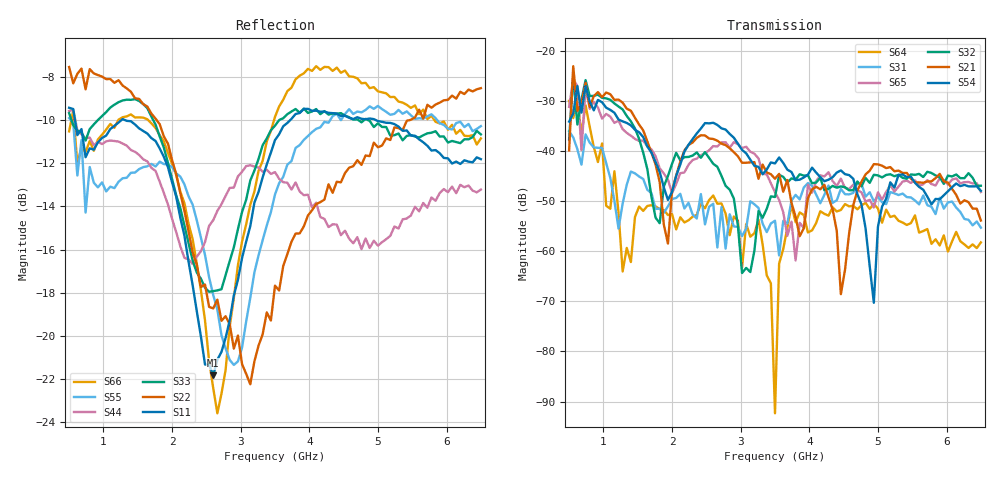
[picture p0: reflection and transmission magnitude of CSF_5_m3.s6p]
!Keysight Technologies,M9804A,MY58100912,A.14.10.03
!Date: Thursday, April 27, 2023 10:28:33
!Correction: S11(C  6-Port  )
!S12(C  6-Port  )
!S13(C  6-Port  )
!S14(C  6-Port  )
!S15(C  6-Port  )
!S16(C  6-Port  )
!S21(C  6-Port  )
!S22(C  6-Port  )
!S23(C  6-Port  )
!S24(C  6-Port  )
!S25(C  6-Port  )
!S26(C  6-Port  )
!S31(C  6-Port  )
!S32(C  6-Port  )
!S33(C  6-Port  )
!S34(C  6-Port  )
!S35(C  6-Port  )
!S36(C  6-Port  )
!S41(C  6-Port  )
!S42(C  6-Port  )
!S43(C  6-Port  )
!S44(C  6-Port  )
!S45(C  6-Port  )
!S46(C  6-Port  )
!S51(C  6-Port  )
!S52(C  6-Port  )
!S53(C  6-Port  )
!S54(C  6-Port  )
!S55(C  6-Port  )
!S56(C  6-Port  )
!S61(C  6-Port  )
!S62(C  6-Port  )
!S63(C  6-Port  )
!S64(C  6-Port  )
!S65(C  6-Port  )
!S66(C  6-Port  )
!S6P File: Measurement: :
# Hz S  RI  R 50
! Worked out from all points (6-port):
!   101 points, 500 MHz to 6.5 GHz, reference 50 ohm
!   strongest paths, dB at 500 MHz, 2 GHz, 3.5 GHz, 5 GHz, 6.5 GHz:
!     S54: -34.1, -48.1, -42.4, -55.1, -47.9
!     S21: -39.8, -47.9, -45.5, -42.6, -53.9
!     S32: -37.7, -42.5, -49.2, -44.8, -46.9
!     S65: -31.2, -48.4, -48.2, -48.2, -48.2
!     S31: -36.0, -49.6, -53.9, -49.1, -55.3
!     S64: -29.9, -52.6, -92.4, -51.5, -58.2
!   lowest |S11| = -21.8 dB at 2.6 GHz (marker M1), VSWR 1.18, Z = 42.7 + j1.97 ohm
!   |S11| at or under -10 dB: 585.3 MHz to 1.263 GHz (677.9 MHz wide, 73.3 % of centre); 1.313 GHz to 3.723 GHz (2.41 GHz wide, 95.7 % of centre); 4.968 GHz to end of sweep
